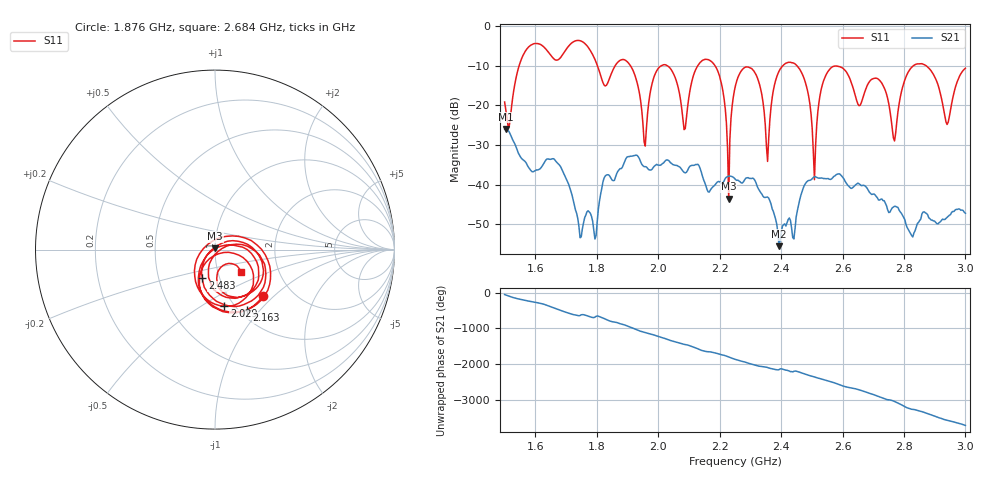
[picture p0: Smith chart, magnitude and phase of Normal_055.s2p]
# HZ S RI R 50
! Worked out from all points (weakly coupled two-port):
!   404 points, 1.5 GHz to 3 GHz, reference 50 ohm
!   highest |S21| = -25.91 dB at 1.504 GHz (marker M1); lowest = -55.6 dB at 2.393 GHz (marker M2)
!   lowest |S11| = -43.6 dB at 2.23 GHz (marker M3), VSWR 1.01, Z = 50.1 + j0.654 ohm
!   |S11| at or under -10 dB: 2.185 GHz to 2.405 GHz (219.8 MHz wide, 9.57 % of centre); 2.452 GHz to 2.83 GHz (378.1 MHz wide, 14.3 % of centre); 2.873 GHz to end of sweep (the widest 3 of 7)
!   S12 and S22 are empty: the file has one direction only
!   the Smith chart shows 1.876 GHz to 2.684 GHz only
!   S11 on the Smith chart (normalised r, x): 1.876 GHz: 1.44, -0.85; 2.029 GHz: 0.90, -0.63; 2.163 GHz: 1.08, -0.85; 2.483 GHz: 0.83, -0.27; 2.684 GHz: 1.29, -0.33
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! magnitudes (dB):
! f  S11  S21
! 1.5 GHz  -19.1  -26.0
! 1.504 GHz  -21.0  -25.9
! 1.578 GHz  -5.2  -35.7
! 1.753 GHz  -3.9  -51.2
! 1.876 GHz  -8.6  -35.9
! 1.958 GHz  -30.3  -35.5
! 2.002 GHz  -10.4  -35.1
! 2.029 GHz  -9.9  -33.8
! 2.084 GHz  -26.1  -36.9
! 2.163 GHz  -8.4  -41.8
! 2.23 GHz  -43.6  -37.9
! 2.252 GHz  -14.9  -38.7
! 2.315 GHz  -11.8  -39.0
! 2.356 GHz  -34.1  -43.2
! 2.393 GHz  -11.3  -55.6
! 2.483 GHz  -15.2  -39.4
! 2.501 GHz  -25.7  -38.5
! 2.561 GHz  -10.6  -38.7
! 2.684 GHz  -14.5  -41.4
! 2.751 GHz  -19.6  -47.1
! 2.94 GHz  -24.8  -48.2
! 3 GHz  -10.6  -47.2
